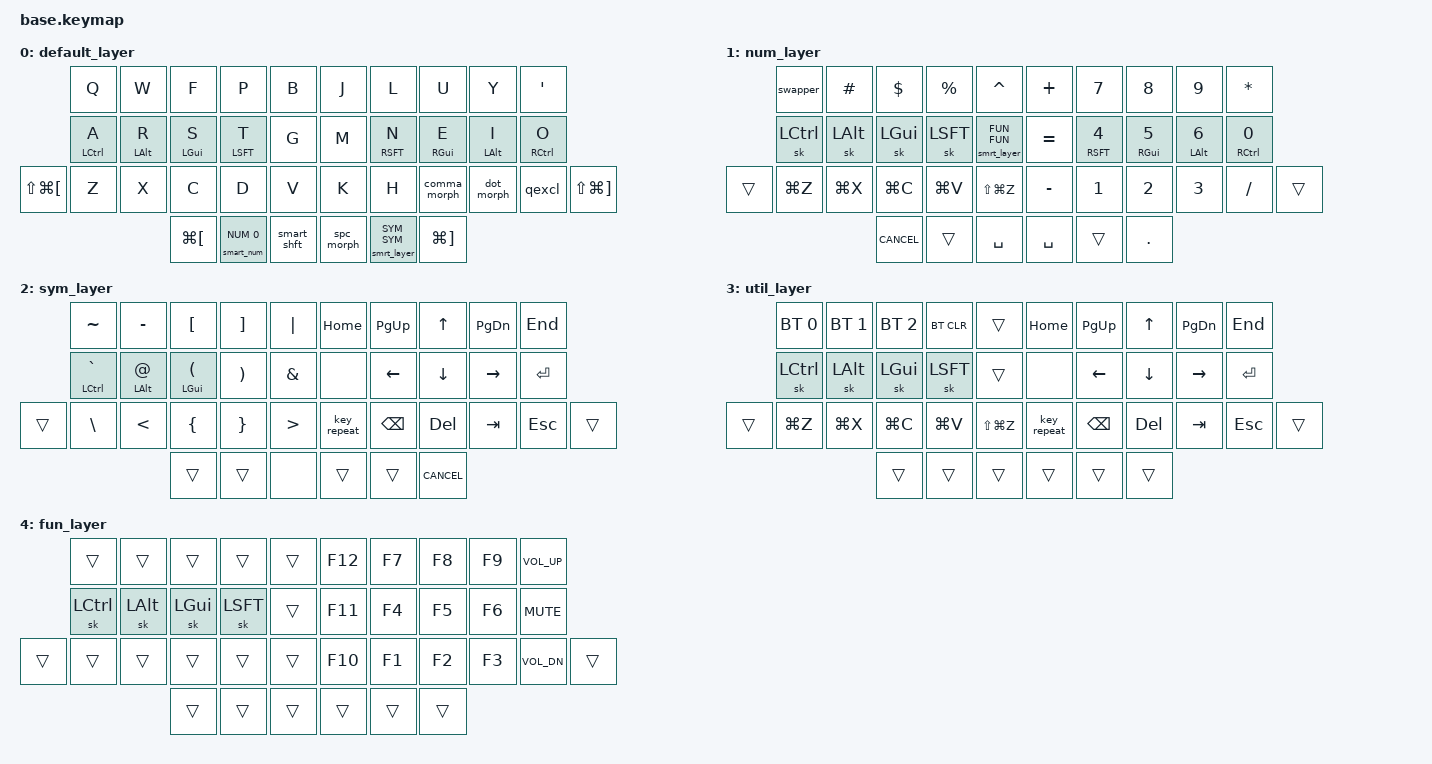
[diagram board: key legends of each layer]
#include <behaviors.dtsi>
#include <dt-bindings/zmk/keys.h>
#include <dt-bindings/zmk/bt.h>

#include "../zmk-nodefree-config/helper.h"

// #define DEF 0
// #define NAV 1
// #define FN 2
// #define NUM 3
// #define SYS 4
// #define UC 5
// #define MOUSE 6

#define BASE 0
#define NUM 1
#define SYM 2
#define UTIL 3
#define FUN 4
#define BT 5

#include "combos.dtsi"  // requires layer aliases
#include "mouse.dtsi"

#define XXX &none
#define ___ &trans

// define editing shortcuts
#define S_UNDO &kp LG(Z)
#define S_CUT &kp LG(X)
#define S_COPY &kp LG(C)
#define S_PASTE &kp LG(V)
#define S_REDO &kp LS(LG(Z))

// navigation bindings for back/forward and prev tab/next tab
#define BACK &kp LG(LBKT)
#define FWD &kp LG(RBKT)
#define PTAB &kp LS(LG(LBKT))
#define NTAB &kp LS(LG(RBKT))

/* Global settings */

#define QUICK_TAP_MS 175

&sk {  // sticky-key config
    release-after-ms = <900>;  // release after 0.6s
    quick-release;             // no double capitalization when rolling keys
};

&sl {  // sticky-layer config
    ignore-modifiers;          // allow chording sticky mods & layers
};

&lt {  // layer-tap config
    flavor = "balanced";
    tapping-term-ms = <200>;
    quick-tap-ms = <QUICK_TAP_MS>;
};

/* Homerow mods */

#define KEYS_L LT0 LT1 LT2 LT3 LT4 LM0 LM1 LM2 LM3 LM4 LB0 LB1 LB2 LB3 LB4 LH4  // left hand
#define KEYS_R RT0 RT1 RT2 RT3 RT4 RM0 RM1 RM2 RM3 RM4 RB0 RB1 RB2 RB3 RB4 RH4  // right hand
#define THUMBS LH2 LH1 LH0 RH0 RH1 RH2                                      // thumbs

#define MAKE_HRM(NAME, HOLD, TAP, TRIGGER_POS) \
    ZMK_BEHAVIOR(NAME, hold_tap, \
        flavor = "balanced"; \
        tapping-term-ms = <280>; \
        quick-tap-ms = <QUICK_TAP_MS>; \
        global-quick-tap-ms = <150>; \
        bindings = <HOLD>, <TAP>; \
        hold-trigger-key-positions = <TRIGGER_POS>; \
        hold-trigger-on-release; \
    )
MAKE_HRM(hml, &kp, &kp, KEYS_R THUMBS)  // left-hand HRMs
MAKE_HRM(hmr, &kp, &kp, KEYS_L THUMBS)  // right-hand HRMs

MAKE_HRM(hml_repeat, &kp, &key_repeat, KEYS_R THUMBS)  // used for HRM-combo
MAKE_HRM(hmr_lpar_lt, &kp, &lpar_lt, KEYS_L THUMBS)    // "    "   "   "
MAKE_HRM(hmr_rpar_gt, &kp, &rpar_gt, KEYS_L THUMBS)    // "    "   "   "

/* Nav cluster */

// long-tap action on hold, short-tap action on all interrupts
// #define MT_CORE \
//     flavor = "tap-preferred"; \
//     tapping-term-ms = <220>; \
//     quick-tap-ms = <220>; \
//     hold-trigger-key-positions = <0>;

// &mt { MT_CORE };
// ZMK_BEHAVIOR(mt_home, hold_tap, bindings = <&masked_home>, <&kp>; MT_CORE)
// ZMK_BEHAVIOR(mt_end,  hold_tap,  bindings = <&masked_end>, <&kp>; MT_CORE)

// #define NAV_LEFT  &mt_home 0   LEFT    // tap: left  | long-tap: beginning of line
// #define NAV_RIGHT &mt_end 0    RIGHT   // tap: right | long-tap: end       of line
// #define NAV_UP    &mt LC(HOME) UP      // tap: up    | long-tap: beginning of document
// #define NAV_DOWN  &mt LC(END)  DOWN    // tap: down  | long-tap: end       of document
// #define NAV_BSPC  &mt LC(BSPC) BSPC    // tap: bspc  | long-tap: delete word backward
// #define NAV_DEL   &mt LC(DEL)  DEL     // tap: del   | long-tap: delete word forward

// // mask CTRL when holding left/right to avoid accidental jumps to beginning/end of document
// #define MASK_MODS(NAME, MODS, BINDING) \
//     ZMK_BEHAVIOR(NAME, mod_morph, \
//         bindings = <BINDING>, <BINDING>; \
//         mods = <MODS>; \
//     )
// MASK_MODS(masked_home, (MOD_LCTL), &kp HOME)
// MASK_MODS(masked_end,  (MOD_LCTL), &kp END)

/* Caps-word, num-word and smart-mouse */

// tap: sticky-shift | shift + tap/ double-tap: caps-word | hold: shift
ZMK_BEHAVIOR(smart_shft, mod_morph,
    bindings = <&sk LSHFT>, <&caps_word>;
    mods = <(MOD_LSFT)>;
)
&caps_word {  // mods deactivate caps-word, requires PR #1451
    /delete-property/ ignore-modifiers;
};

// tap: num-word | double-tap: sticky num-layer | hold: num-layer
#define SMART_NUM &smart_num NUM 0
ZMK_BEHAVIOR(smart_num, hold_tap,
    flavor = "balanced";
    tapping-term-ms = <200>;
    quick-tap-ms = <QUICK_TAP_MS>;
    bindings = <&mo>, <&num_dance>;
)
ZMK_BEHAVIOR(num_dance, tap_dance,
    tapping-term-ms = <200>;
    bindings = <&num_word>, <&sl NUM>;  // reverse this for sticky-num on single tap
)
&num_word {  // num-word, requires PR #1451
    layers = <NUM>;
    continue-list = <BSPC DEL DOT COMMA PLUS MINUS STAR FSLH EQUAL>;
};

// tap: sticky-layer | hold: layer
#define SMART_SYM &smrt_layer SYM SYM
#define SMART_FUN &smrt_layer FUN FUN
ZMK_BEHAVIOR(smrt_layer, hold_tap,
    flavor = "hold-preferred"; // in most cases we want to avoid taps
    tapping-term-ms = <QUICK_TAP_MS>; 
    bindings = <&mo>, <&sl>; 
) 

/* Custom behaviors */

// Cmd+Tab swapper, requires PR #1366
ZMK_BEHAVIOR(swapper, tri_state,
    bindings = <&kt LGUI>, <&kp TAB>, <&kt GUI>;
    ignored-key-positions = <LM1>;  // shift-cmd-tab
)

// tap: comma | shift + tap: semicolon | ctrl + shift + tap: <
ZMK_BEHAVIOR(comma_morph, mod_morph,
    mods = <(MOD_LSFT|MOD_RSFT)>;
    bindings = <&kp COMMA>, <&comma_inner_morph>;
)
ZMK_BEHAVIOR(comma_inner_morph, mod_morph,
    bindings = <&kp SEMICOLON>, <&kp LESS_THAN>;
    mods = <(MOD_LCTL|MOD_RCTL)>;
)

// tap: dot | shift + tap: colon | ctrl + shift + tap: >
ZMK_BEHAVIOR(dot_morph, mod_morph,
    bindings = <&kp DOT>, <&dot_inner_morph>;
    mods = <(MOD_LSFT|MOD_RSFT)>;
)
ZMK_BEHAVIOR(dot_inner_morph, mod_morph,
    bindings = <&kp COLON>, <&kp GREATER_THAN>;
    mods = <(MOD_LCTL|MOD_RCTL)>;
)

// tap: qmark | shift + tap: excl
ZMK_BEHAVIOR(qexcl, mod_morph,
    bindings = <&kp QMARK>, <&kp EXCL>;
    mods = <(MOD_LSFT|MOD_RSFT)>;
)

// tap: space | shift + tap: dot -> space -> sticky shift
ZMK_BEHAVIOR(spc_morph, mod_morph,
    bindings = <&kp SPACE>, <&dot_spc>;
    mods = <(MOD_LSFT|MOD_RSFT)>;
)
ZMK_BEHAVIOR(dot_spc, macro,
    wait-ms = <5>;
    tap-ms = <5>;
    bindings = <&dot_morph_cancel &kp SPACE &sk LSFT>;
)
ZMK_BEHAVIOR(dot_morph_cancel, mod_morph,
    bindings = <&kp DOT>, <&kp DOT>;
    mods = <(MOD_LSFT|MOD_RSFT)>;
)

// tap: backspace | lshft + tap: delete | rshft + tap: shift-delete
// ZMK_BEHAVIOR(bs_del, mod_morph,
//     bindings = <&kp BSPC>, <&kp DEL>;
//     mods = <(MOD_LSFT|MOD_RSFT)>;
//     keep-mods = <MOD_RSFT>;
// )

// tap: left-parenthesis | shft + tap: less-than
ZMK_BEHAVIOR(lpar_lt, mod_morph,
    bindings = <&kp LPAR>, <&kp LT>;
    mods = <(MOD_LSFT|MOD_RSFT)>;
)

// tap: right-parenthesis | shft + tap: greater-than
ZMK_BEHAVIOR(rpar_gt, mod_morph,
    bindings = <&kp RPAR>, <&kp GT>;
    mods = <(MOD_LSFT|MOD_RSFT)>;
)


// misc aliases
#define CANCEL      &kp K_CANCEL             // cancel caps-word, num-word and smart-mouse

/* Keymap */

ZMK_CONDITIONAL_LAYER(NUM SYM, UTIL)  // NUM + SYM --> UTIL

/ {
    /* chosen { */
    /*     zmk,matrix_transform = &five_column_transform; */
    /* }; */

    keymap {
        compatible = "zmk,keymap";
        default_layer { // ColemakDHm
            bindings = <
            &kp Q        &kp W        &kp F        &kp P        &kp B             &kp J       &kp L         &kp U         &kp Y         &kp APOS 
            &hml LCTL A  &hml LALT R  &hml LGUI S  &hml LSFT T  &kp G             &kp M       &hmr RSFT N   &hmr RGUI E   &hmr LALT I   &hmr RCTL O
      PTAB  &kp Z        &kp X        &kp C        &kp D        &kp V             &kp K       &kp H         &comma_morph  &dot_morph    &qexcl       NTAB
                                      BACK         SMART_NUM    &smart_shft       &spc_morph  SMART_SYM     FWD
            >;
        };
        num_layer {
            bindings = <
            &swapper  &kp HASH   &kp DLLR   &kp PRCNT  &kp CARET              &kp PLUS    &kp N7        &kp N8        &kp N9        &kp ASTRK 
            &sk LCTL   &sk LALT  &sk LGUI   &sk LSFT   SMART_FUN              &kp EQUAL   &hmr RSFT N4  &hmr RGUI N5  &hmr LALT N6  &hmr RCTL N0
      ___   S_UNDO    S_CUT     S_COPY     S_PASTE    S_REDO                  &kp MINUS   &kp N1        &kp N2        &kp N3        &kp FSLH  ___
                                CANCEL      ___        &kp SPACE                &kp SPACE   ___         &kp DOT
            >;
        };
        sym_layer {
            bindings = <
            &kp TILDE        &kp MINUS     &kp LBKT        &kp RBKT  &kp PIPE      &kp HOME    &kp PG_UP  &kp UP     &kp PG_DN  &kp END
            &hml LCTL GRAVE  &hml LALT AT  &hml LGUI LPAR  &kp RPAR  &kp AMPS      XXX         &kp LEFT   &kp DOWN   &kp RIGHT  &kp ENTER 
    ___     &kp BSLH         &kp LT        &kp LBRC        &kp RBRC  &kp GT        &key_repeat &kp BSPC   &kp DEL    &kp TAB    &kp ESC   ___
                                         ___           ___       XXX                ___         ___        CANCEL                   
            >;
        };
 
        util_layer {
            bindings = <
            &bt BT_SEL 0 &bt BT_SEL 1 &bt BT_SEL 2 &bt BT_CLR  ___          &kp HOME     &kp PG_UP  &kp UP    &kp PG_DN  &kp END
            &sk LCTL     &sk LALT     &sk LGUI     &sk LSFT    ___          XXX          &kp LEFT   &kp DOWN  &kp RIGHT  &kp ENTER 
        ___ S_UNDO       S_CUT        S_COPY       S_PASTE     S_REDO       &key_repeat  &kp BSPC   &kp DEL   &kp TAB    &kp ESC   ___
                                       ___          ___         ___         ___          ___        ___
            >;
        };

        fun_layer {
            bindings = <
            ___        ___        ___        ___        ___              &kp F12  &kp F7     &kp F8  &kp F9  &kp C_VOL_UP
            &sk LCTL   &sk LALT   &sk LGUI   &sk LSFT   ___              &kp F11  &kp F4     &kp F5  &kp F6  &kp C_MUTE
      ___   ___        ___        ___        ___        ___              &kp F10  &kp F1     &kp F2  &kp F3  &kp C_VOL_DN   ___
                                  ___        ___        ___              ___      ___        ___            
            >;
        };
    };
};

/* vim: set ft=c tw=174: */
